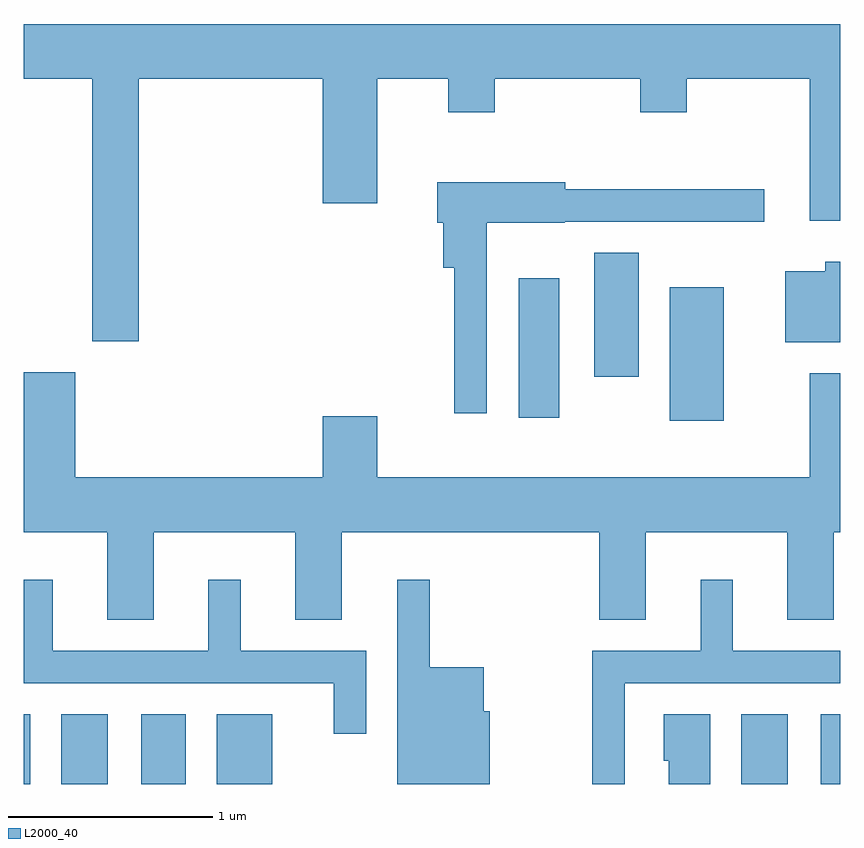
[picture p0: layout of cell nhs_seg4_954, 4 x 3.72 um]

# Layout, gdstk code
import gdstk
lib = gdstk.Library(unit=1e-6, precision=1e-09)
def R(c, l, rs):  # rectangles x0, y0, x1, y1
    for r in rs: c.add(gdstk.rectangle(r[:2], r[2:], *l))
def P(c, l, *ps):  # polygons
    for p in ps: c.add(gdstk.Polygon(p, *l))
L2000_40 = (2000, 40)

nhs_seg4_954 = lib.new_cell('nhs_seg4_954')
R(nhs_seg4_954, L2000_40, [(213.611,1257.982,213.644,1258.324), (213.796,1257.982,214.024,1258.324), (214.186,1257.982,214.404,1258.324), (214.556,1257.982,214.829,1258.324), (217.126,1257.982,217.354,1258.324), (217.516,1257.982,217.611,1258.324), (216.776,1259.761,217.039,1260.414), (216.036,1259.776,216.234,1260.459), (216.406,1259.976,216.624,1260.584)])
P(nhs_seg4_954, L2000_40, [(214.174,1261.436),(215.076,1261.436),(215.076,1260.826),(215.344,1260.826),(215.344,1261.436),(215.691,1261.436),(215.691,1261.271),(215.919,1261.271),(215.919,1261.436),(216.631,1261.436),(216.631,1261.271),(216.859,1261.271),(216.859,1261.436),(217.461,1261.436),(217.461,1260.741),(217.611,1260.741),(217.611,1261.704),(213.611,1261.704),(213.611,1261.436),(213.946,1261.436),(213.946,1260.151),(214.174,1260.151)],
  [(215.879,1260.731),(216.26,1260.731),(216.26,1260.736),(217.238,1260.736),(217.238,1260.894),(216.264,1260.894),(216.264,1260.929),(215.636,1260.929),(215.636,1260.731),(215.666,1260.731),(215.666,1260.511),(215.721,1260.511),(215.721,1259.798),(215.879,1259.798)],
  [(217.611,1260.539),(217.536,1260.539),(217.536,1260.494),(217.341,1260.494),(217.341,1260.146),(217.611,1260.146)],
  [(214.249,1259.216),(214.941,1259.216),(214.941,1258.786),(215.169,1258.786),(215.169,1259.216),(216.431,1259.216),(216.431,1258.786),(216.659,1258.786),(216.659,1259.216),(217.351,1259.216),(217.351,1258.786),(217.579,1258.786),(217.579,1259.216),(217.611,1259.216),(217.611,1259.994),(217.461,1259.994),(217.461,1259.484),(215.344,1259.484),(215.344,1259.784),(215.076,1259.784),(215.076,1259.484),(213.864,1259.484),(213.864,1259.999),(213.611,1259.999),(213.611,1259.216),(214.021,1259.216),(214.021,1258.786),(214.249,1258.786)],
  [(215.894,1258.339),(215.864,1258.339),(215.864,1258.554),(215.599,1258.554),(215.599,1258.983),(215.441,1258.983),(215.441,1257.982),(215.894,1257.982)],
  [(215.289,1258.634),(214.674,1258.634),(214.674,1258.983),(214.516,1258.983),(214.516,1258.634),(213.754,1258.634),(213.754,1258.983),(213.611,1258.983),(213.611,1258.476),(215.131,1258.476),(215.131,1258.228),(215.289,1258.228)],
  [(216.554,1258.476),(217.611,1258.476),(217.611,1258.634),(217.084,1258.634),(217.084,1258.983),(216.926,1258.983),(216.926,1258.634),(216.396,1258.634),(216.396,1257.982),(216.554,1257.982)],
  [(216.974,1258.324),(216.746,1258.324),(216.746,1258.096),(216.771,1258.096),(216.771,1257.982),(216.974,1257.982)])

lib.write_gds('nhs_seg4_954.gds')
